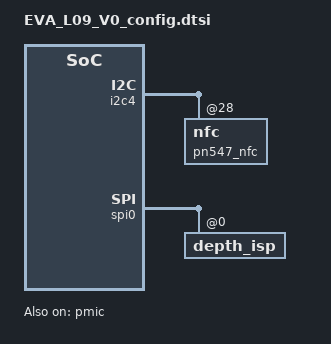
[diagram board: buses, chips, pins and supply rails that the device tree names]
/**
 * Huawei Ltd.
 * PhosphorV660
 */


/include/ "EVA_TUCL_V0_config.dtsi"

/{
	hisi,modem_id = <0x3C010C00>;
	hisi,boardid = <3 5 8 0>;
	hisi,boardname = "EVA_L09_V0";
	viacbp82d_power:viacbp82d_power {
		status = "disabled";
	};
	viacbp82d_cbp_spi:viacbp82d_cbp_spi {
		status = "disabled";
	};
	devcheck: devcheck{
		nfc = <1>;
	};

	panel_mipi_fake{
		gpio_nums = <52 136 53 20 21 19 29>;
		gpios = <&gpio6 4 0>, <&gpio17 0 0>,  <&gpio6 5 0>, <&gpio2 4 0>, <&gpio2 3 0>, <&gpio3 5 0>;
	};

	panel_lcd_lg_R69006_5P5{
		pinctrl-1 = <&gpio021_pmx_idle &gpio021_cfg_idle &gpio029_cfg_idle &gpio019_cfg_idle &gpio020_cfg_idle &gpio136_cfg_idle &gpio052_cfg_idle &gpio053_cfg_idle>;
		pinctrl-0 = <&gpio021_pmx_func &gpio021_cfg_func &gpio029_cfg_func &gpio019_cfg_idle &gpio020_cfg_func &gpio136_cfg_func &gpio052_cfg_func &gpio053_cfg_func>;
		gpio_nums = <52 136 53 20 21 19 29>;
		gpios = <&gpio6 4 0>, <&gpio17 0 0>,  <&gpio6 5 0>, <&gpio2 4 0>, <&gpio2 3 0>, <&gpio3 5 0>;
	};

	panel_lcd_sharp_NT35695_5P5{
		pinctrl-1 = <&gpio021_pmx_idle &gpio021_cfg_idle &gpio029_cfg_idle &gpio067_cfg_idle &gpio020_cfg_idle &gpio136_cfg_idle &gpio052_cfg_idle &gpio053_cfg_idle>;
		pinctrl-0 = <&gpio021_pmx_func &gpio021_cfg_func &gpio029_cfg_func &gpio067_cfg_idle &gpio020_cfg_func &gpio136_cfg_func &gpio052_cfg_func &gpio053_cfg_func>;
		gpio_nums = <52 136 53 20 21 19 29>;
		gpios = <&gpio6 4 0>, <&gpio17 0 0>,  <&gpio6 5 0>, <&gpio2 4 0>, <&gpio2 3 0>, <&gpio3 5 0>;
	};

	panel_lcd_jdi_R63452_5P5{
		pinctrl-1 = <&gpio021_pmx_idle &gpio021_cfg_idle &gpio029_cfg_idle &gpio067_cfg_idle &gpio020_cfg_idle &gpio136_cfg_idle &gpio052_cfg_idle &gpio053_cfg_idle>;
		pinctrl-0 = <&gpio021_pmx_func &gpio021_cfg_func &gpio029_cfg_func &gpio067_cfg_idle &gpio020_cfg_func &gpio136_cfg_func &gpio052_cfg_func &gpio053_cfg_func>;
		gpio_nums = <52 136 53 20 21 19 29>;
		gpios = <&gpio6 4 0>, <&gpio17 0 0>,  <&gpio6 5 0>, <&gpio2 4 0>, <&gpio2 3 0>, <&gpio3 5 0>;
	};
	huawei,lcd_panel{
		gpio_cfg_addr = <0xE896C84C 0xE896C874>;
		gpio_id = <19 29>;
	};
	amba{
		i2c4: i2c@FDF0D000{
			pn547_nfc: nfc@28{
				status = "ok";
			};
		};
		spi0: spi@ffd70000{
			depth_isp: depth_isp@0 {
				depth_isp,reset_gpio = <32>;
				pinctrl-0 = <
					&gpio032_pmx_func
					&gpio051_pmx_func
					&gpio056_pmx_func
					&gpio032_cfg_func
					&gpio051_cfg_func
					&gpio056_cfg_func>;
				pinctrl-1 = <
					&gpio032_pmx_idle
					&gpio051_pmx_idle
					&gpio056_pmx_idle
					&gpio032_cfg_idle
					&gpio051_cfg_idle
					&gpio056_cfg_idle>;
			};
		};
	};
	huawei,hisi_isp100{
		pinctrl-1 = <
			&gpio017_pmx_idle
			&gpio018_pmx_idle
			&gpio022_pmx_idle
			&gpio023_pmx_idle
			&gpio024_pmx_idle
			&gpio025_pmx_idle
			&gpio026_pmx_idle
			&gpio027_pmx_idle
			&gpio028_pmx_idle
			&gpio003_hi6402_pinctrl_idle
			&gpio122_pmx_idle
			&gpio207_pmx_idle
			&gpio030_pmx_idle
			&gpio217_pmx_idle

			&gpio017_cfg_idle
			&gpio018_cfg_idle
			&gpio022_cfg_idle
			&gpio023_cfg_idle
			&gpio024_cfg_idle
			&gpio025_cfg_idle
			&gpio026_cfg_idle
			&gpio027_cfg_idle
			&gpio028_cfg_idle
			&gpio122_cfg_idle
			&gpio207_cfg_idle
			&gpio030_cfg_idle
			&gpio217_cfg_idle>;
		pinctrl-0 = <
			&gpio017_pmx_func
			&gpio018_pmx_func
			&gpio022_pmx_func
			&gpio023_pmx_func
			&gpio024_pmx_func
			&gpio025_pmx_func
			&gpio026_pmx_func
			&gpio027_pmx_func
			&gpio028_pmx_func
			&gpio003_hi6402_pinctrl_func
			&gpio122_pmx_func
			&gpio207_pmx_func
			&gpio030_pmx_func
			&gpio217_pmx_func

			&gpio017_cfg_func
			&gpio018_cfg_func
			&gpio022_cfg_func
			&gpio023_cfg_func
			&gpio024_cfg_func
			&gpio025_cfg_func
			&gpio026_cfg_func
			&gpio027_cfg_func
			&gpio028_cfg_func
			&gpio122_cfg_func
			&gpio207_cfg_func
			&gpio030_cfg_func
			&gpio217_cfg_func>;
	};
	huawei,imx214dual{
		gpios = <&gpio2 2 0 &gpio2 1 0 &gpio3 6 0 &gpio27 1 0 &gpio15 2 0 &gpio25 7 0>;
	};
	huawei,imx286dual{
		gpios = <&gpio2 2 0 &gpio2 1 0 &gpio3 6 0 &gpio27 1 0 &gpio15 2 0 &gpio25 7 0>;
	};
	sensorhub{
		mag_sensor: compass{
			mag1{
				negate_x =<0>;
				negate_y =<1>;
				negate_z =<1>;
				axis_map_x =<0>;
				axis_map_y =<1>;
				axis_map_z =<2>;
				softiron_parameter = <16 39 0 0 0 0 0 0 16 39 0 0 0 0 0 0 16 39 0 0 0 0 0 0 0 0 0>;
			};
		};
	};

	nfc_exist{
		nfc_exist_flag = "1";
		nfc_ese_spi_det = "0";
	};
	pmic: pmic@FFF34000{
		status = "ok";
		buck_boost_alwayson = <1>;
		compatible = "hisilicon,hisi-pmic";
	};

	bcm_wifi{
		wifi_nvram_name = "/vendor/firmware/nvram43455_hw_eva_ULG.txt";
	};
};
